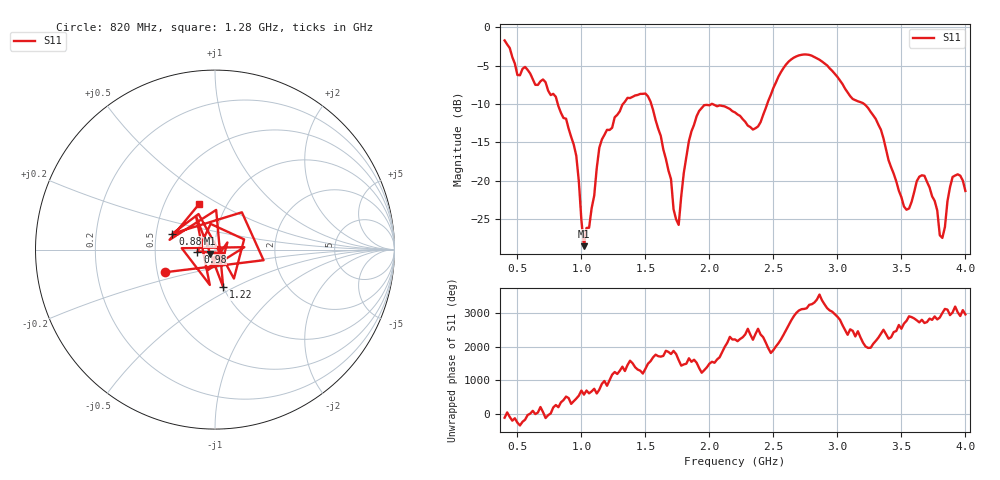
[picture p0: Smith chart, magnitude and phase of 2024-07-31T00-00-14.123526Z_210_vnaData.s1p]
!Created with skrf (http://scikit-rf.org).
# Hz S RI R 50.0
!freq ReS11 ImS11
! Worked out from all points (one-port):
!   181 points, 400 MHz to 4 GHz, reference 50 ohm
!   lowest |S11| = -28.6 dB at 1.02 GHz (marker M1), VSWR 1.08, Z = 47.1 - j2.1 ohm
!   |S11| at or under -10 dB: 815.5 MHz to 1.325 GHz (509.5 MHz wide, 47.6 % of centre); 1.546 GHz to 2.018 GHz (472.1 MHz wide, 26.5 % of centre); 3.208 GHz to end of sweep (the widest 3 of 4)
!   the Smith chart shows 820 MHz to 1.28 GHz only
!   S11 on the Smith chart (normalised r, x): 820 MHz: 0.55, -0.15; 880 MHz: 0.61, +0.12; 980 MHz: 0.82, -0.02; 1.22 GHz: 1.00, -0.44; 1.28 GHz: 0.74, +0.41
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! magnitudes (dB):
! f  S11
! 400 MHz  -1.7
! 500 MHz  -6.2
! 700 MHz  -6.8
! 820 MHz  -10.3
! 860 MHz  -11.8
! 880 MHz  -11.9
! 980 MHz  -20.1
! 1.02 GHz  -28.6
! 1.1 GHz  -22.0
! 1.14 GHz  -15.7
! 1.22 GHz  -13.4
! 1.28 GHz  -11.4
! 1.3 GHz  -11.0
! 1.52 GHz  -9.0
! 1.76 GHz  -25.8
! 1.84 GHz  -14.8
! 1.92 GHz  -10.9
! 2.2 GHz  -11.1
! 2.38 GHz  -12.9
! 2.66 GHz  -3.9
! 2.86 GHz  -4.2
! 3.1 GHz  -9.0
! 3.3 GHz  -12.0
! 3.56 GHz  -23.6
! 3.68 GHz  -19.4
! 3.82 GHz  -27.5
! 3.9 GHz  -19.5
! 4 GHz  -21.4
